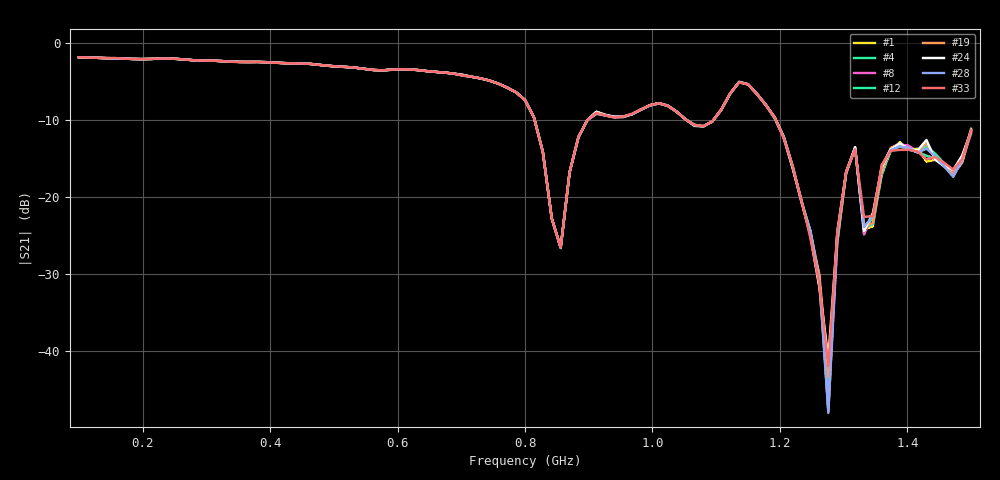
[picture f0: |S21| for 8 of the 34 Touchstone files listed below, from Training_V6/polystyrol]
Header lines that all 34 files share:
! NanoVNA-App
! Start: 100MHz Stop: 1,5GHz Points: 101
! S-Parameter data: F S11 S21 S12 S22
# Hz S RI R 50
!  Frequency  S11_Real  S11_Imag  S21_Real  S21_Imag  S12_Real  S12_Imag  S22_Real  S22_Imag
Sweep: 100 MHz to 1.5 GHz
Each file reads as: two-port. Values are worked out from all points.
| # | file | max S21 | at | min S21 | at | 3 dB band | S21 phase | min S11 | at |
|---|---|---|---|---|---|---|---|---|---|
| 1 | polystyrol (401).s2p | -1.80 dB | 100 MHz | -46.2 dB | 1.276 GHz | 100 MHz-730 MHz | 13 deg at 800 MHz | -39.1 dB | 128 MHz |
| 2 | polystyrol (402).s2p | -1.80 dB | 100 MHz | -47.6 dB | 1.276 GHz | 100 MHz-730 MHz | 13 deg at 800 MHz | -39.1 dB | 128 MHz |
| 3 | polystyrol (403).s2p | -1.80 dB | 100 MHz | -52.3 dB | 1.276 GHz | 100 MHz-730 MHz | 13 deg at 800 MHz | -39.1 dB | 128 MHz |
| 4 | polystyrol (405).s2p | -1.80 dB | 100 MHz | -44.5 dB | 1.276 GHz | 100 MHz-730 MHz | 13 deg at 800 MHz | -39.0 dB | 128 MHz |
| 5 | polystyrol (406).s2p | -1.80 dB | 100 MHz | -42.4 dB | 1.276 GHz | 100 MHz-730 MHz | 13 deg at 800 MHz | -39.1 dB | 128 MHz |
| 6 | polystyrol (407).s2p | -1.80 dB | 100 MHz | -45.6 dB | 1.276 GHz | 100 MHz-730 MHz | 13 deg at 800 MHz | -39.1 dB | 128 MHz |
| 7 | polystyrol (408).s2p | -1.80 dB | 100 MHz | -50.9 dB | 1.276 GHz | 100 MHz-730 MHz | 13 deg at 800 MHz | -39.1 dB | 128 MHz |
| 8 | polystyrol (409).s2p | -1.80 dB | 100 MHz | -47.8 dB | 1.276 GHz | 100 MHz-730 MHz | 13 deg at 800 MHz | -39.1 dB | 128 MHz |
| 9 | polystyrol (410).s2p | -1.80 dB | 100 MHz | -43.9 dB | 1.276 GHz | 100 MHz-730 MHz | 13 deg at 800 MHz | -39.1 dB | 128 MHz |
| 10 | polystyrol (411).s2p | -1.80 dB | 100 MHz | -40.8 dB | 1.276 GHz | 100 MHz-730 MHz | 13 deg at 800 MHz | -39.1 dB | 128 MHz |
| 11 | polystyrol (412).s2p | -1.80 dB | 100 MHz | -40.8 dB | 1.276 GHz | 100 MHz-730 MHz | 13 deg at 800 MHz | -39.1 dB | 128 MHz |
| 12 | polystyrol (413).s2p | -1.80 dB | 100 MHz | -41.9 dB | 1.276 GHz | 100 MHz-730 MHz | 13 deg at 800 MHz | -39.1 dB | 128 MHz |
| 13 | polystyrol (415).s2p | -1.80 dB | 100 MHz | -40.0 dB | 1.276 GHz | 100 MHz-730 MHz | 13 deg at 800 MHz | -39.1 dB | 128 MHz |
| 14 | polystyrol (416).s2p | -1.80 dB | 100 MHz | -45.6 dB | 1.276 GHz | 100 MHz-730 MHz | 13 deg at 800 MHz | -39.1 dB | 128 MHz |
| 15 | polystyrol (417).s2p | -1.80 dB | 100 MHz | -41.2 dB | 1.276 GHz | 100 MHz-730 MHz | 13 deg at 800 MHz | -39.1 dB | 128 MHz |
| 16 | polystyrol (419).s2p | -1.80 dB | 100 MHz | -46.2 dB | 1.276 GHz | 100 MHz-730 MHz | 13 deg at 800 MHz | -39.1 dB | 128 MHz |
| 17 | polystyrol (420).s2p | -1.80 dB | 100 MHz | -46.6 dB | 1.276 GHz | 100 MHz-730 MHz | 13 deg at 800 MHz | -39.1 dB | 128 MHz |
| 18 | polystyrol (421).s2p | -1.80 dB | 100 MHz | -45.6 dB | 1.276 GHz | 100 MHz-730 MHz | 13 deg at 800 MHz | -39.1 dB | 128 MHz |
| 19 | polystyrol (422).s2p | -1.80 dB | 100 MHz | -43.3 dB | 1.276 GHz | 100 MHz-730 MHz | 13 deg at 800 MHz | -39.1 dB | 128 MHz |
| 20 | polystyrol (425).s2p | -1.80 dB | 100 MHz | -45.6 dB | 1.276 GHz | 100 MHz-730 MHz | 13 deg at 800 MHz | -39.1 dB | 128 MHz |
| 21 | polystyrol (426).s2p | -1.80 dB | 100 MHz | -44.5 dB | 1.276 GHz | 100 MHz-730 MHz | 13 deg at 800 MHz | -39.1 dB | 128 MHz |
| 22 | polystyrol (428).s2p | -1.80 dB | 100 MHz | -60.5 dB | 1.276 GHz | 100 MHz-730 MHz | 13 deg at 800 MHz | -39.1 dB | 128 MHz |
| 23 | polystyrol (429).s2p | -1.80 dB | 100 MHz | -43.3 dB | 1.276 GHz | 100 MHz-730 MHz | 13 deg at 800 MHz | -39.1 dB | 128 MHz |
| 24 | polystyrol (430).s2p | -1.80 dB | 100 MHz | -40.9 dB | 1.276 GHz | 100 MHz-730 MHz | 13 deg at 800 MHz | -39.1 dB | 128 MHz |
| 25 | polystyrol (431).s2p | -1.80 dB | 100 MHz | -39.1 dB | 1.276 GHz | 100 MHz-730 MHz | 13 deg at 800 MHz | -39.1 dB | 128 MHz |
| 26 | polystyrol (432).s2p | -1.80 dB | 100 MHz | -48.4 dB | 1.276 GHz | 100 MHz-730 MHz | 13 deg at 800 MHz | -39.1 dB | 128 MHz |
| 27 | polystyrol (433).s2p | -1.80 dB | 100 MHz | -45.3 dB | 1.276 GHz | 100 MHz-730 MHz | 13 deg at 800 MHz | -39.1 dB | 128 MHz |
| 28 | polystyrol (434).s2p | -1.80 dB | 100 MHz | -48.0 dB | 1.276 GHz | 100 MHz-730 MHz | 13 deg at 800 MHz | -39.1 dB | 128 MHz |
| 29 | polystyrol (435).s2p | -1.80 dB | 100 MHz | -40.6 dB | 1.276 GHz | 100 MHz-730 MHz | 13 deg at 800 MHz | -39.1 dB | 128 MHz |
| 30 | polystyrol (436).s2p | -1.80 dB | 100 MHz | -42.1 dB | 1.276 GHz | 100 MHz-730 MHz | 13 deg at 800 MHz | -39.1 dB | 128 MHz |
| 31 | polystyrol (437).s2p | -1.80 dB | 100 MHz | -42.6 dB | 1.276 GHz | 100 MHz-730 MHz | 13 deg at 800 MHz | -39.1 dB | 128 MHz |
| 32 | polystyrol (438).s2p | -1.80 dB | 100 MHz | -48.0 dB | 1.276 GHz | 100 MHz-730 MHz | 13 deg at 800 MHz | -39.1 dB | 128 MHz |
| 33 | polystyrol (439).s2p | -1.80 dB | 100 MHz | -41.9 dB | 1.276 GHz | 100 MHz-730 MHz | 13 deg at 800 MHz | -39.0 dB | 128 MHz |
| 34 | polystyrol (440).s2p | -1.80 dB | 100 MHz | -45.6 dB | 1.276 GHz | 100 MHz-730 MHz | 13 deg at 800 MHz | -39.1 dB | 128 MHz |
